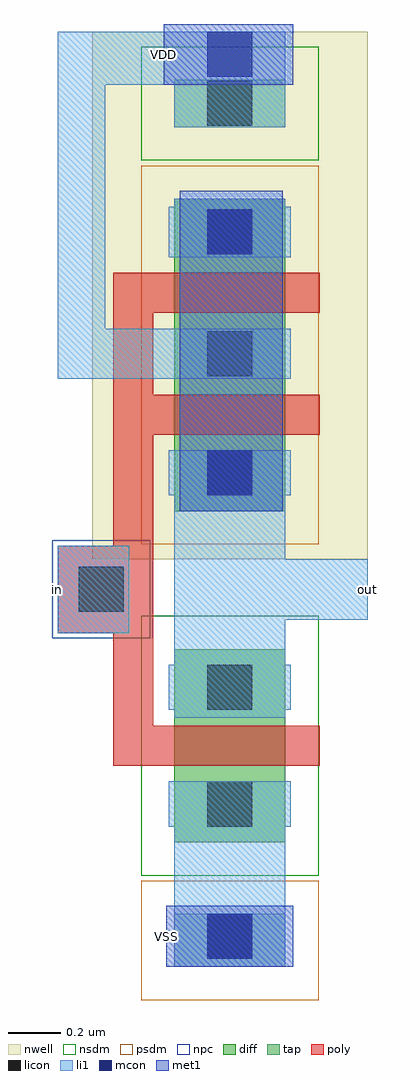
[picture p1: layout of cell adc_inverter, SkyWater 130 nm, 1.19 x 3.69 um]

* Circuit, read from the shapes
.subckt adc_inverter VDD VSS in out
XM1 out in VSS VSS sky130_fd_pr__nfet_01v8 w=0.42 l=0.15
XM2 VDD in out VDD sky130_fd_pr__pfet_01v8 w=0.42 l=0.15 m=2
.ends

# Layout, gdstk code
import gdstk
lib = gdstk.Library(unit=1e-6, precision=1e-09)
def R(c, l, rs):  # rectangles x0, y0, x1, y1
    for r in rs: c.add(gdstk.rectangle(r[:2], r[2:], *l))
nwell = (64, 20)
diff = (65, 20)
tap = (65, 44)
poly = (66, 20)
licon = (66, 44)
li1 = (67, 20)
mcon = (67, 44)
met1 = (68, 20)
nsdm = (93, 44)
psdm = (94, 20)
npc = (95, 20)

adc_inverter = lib.new_cell('adc_inverter')
R(adc_inverter, nwell, [(0,0.89,1.04,2.88)])
R(adc_inverter, diff, [(0.31,-0.18,0.73,0.55), (0.31,1.07,0.73,2.25)])
R(adc_inverter, tap, [(0.31,-0.65,0.73,-0.45), (0.31,2.52,0.73,2.7)])
R(adc_inverter, poly, [(0.08,0.11,0.86,0.26), (0.08,0.26,0.23,0.61), (-0.13,0.61,0.23,0.94), (0.08,0.94,0.23,1.36), (0.08,1.36,0.86,1.51), (0.08,1.51,0.23,1.82), (0.08,1.82,0.86,1.97)])
R(adc_inverter, licon, [(0.435,-0.62,0.605,-0.45), (0.435,-0.12,0.605,0.05), (0.435,0.32,0.605,0.49), (-0.05,0.69,0.12,0.86), (0.435,1.13,0.605,1.3), (0.435,1.58,0.605,1.75), (0.435,2.04,0.605,2.21), (0.435,2.525,0.605,2.695)])
R(adc_inverter, li1, [(0.31,-0.65,0.73,-0.12), (0.29,-0.12,0.75,0.05), (0.31,0.29,0.73,0.32), (0.29,0.32,0.75,0.49), (0.31,0.49,0.73,0.66), (-0.13,0.61,0.14,0.94), (0.31,0.66,1.04,0.89), (0.31,0.89,0.73,1.13), (0.29,1.13,0.75,1.3), (-0.13,1.57,0.75,1.76), (-0.13,1.76,0.05,2.68), (0.29,2.03,0.75,2.22), (0.31,2.22,0.73,2.25), (0.31,2.52,0.73,2.68), (-0.13,2.68,0.73,2.88)])
R(adc_inverter, mcon, [(0.435,-0.62,0.605,-0.45), (0.435,1.13,0.605,1.3), (0.435,2.04,0.605,2.21), (0.435,2.71,0.605,2.88)])
R(adc_inverter, met1, [(0.28,-0.65,0.76,-0.42), (0.33,1.07,0.72,2.28), (0.27,2.68,0.76,2.91)])
R(adc_inverter, nsdm, [(0.185,-0.305,0.855,0.675), (0.185,2.395,0.855,2.825)])
R(adc_inverter, psdm, [(0.185,-0.775,0.855,-0.325), (0.185,0.945,0.855,2.375)])
R(adc_inverter, npc, [(-0.15,0.59,0.22,0.96)])
adc_inverter.add(gdstk.Label('in', (-0.13,0.775), layer=67, texttype=5))
adc_inverter.add(gdstk.Label('out', (1.04,0.775), layer=67, texttype=5))
adc_inverter.add(gdstk.Label('VDD', (0.27,2.795), layer=68, texttype=16))
adc_inverter.add(gdstk.Label('VSS', (0.28,-0.535), layer=68, texttype=16))

lib.write_gds('adc_inverter.gds')
